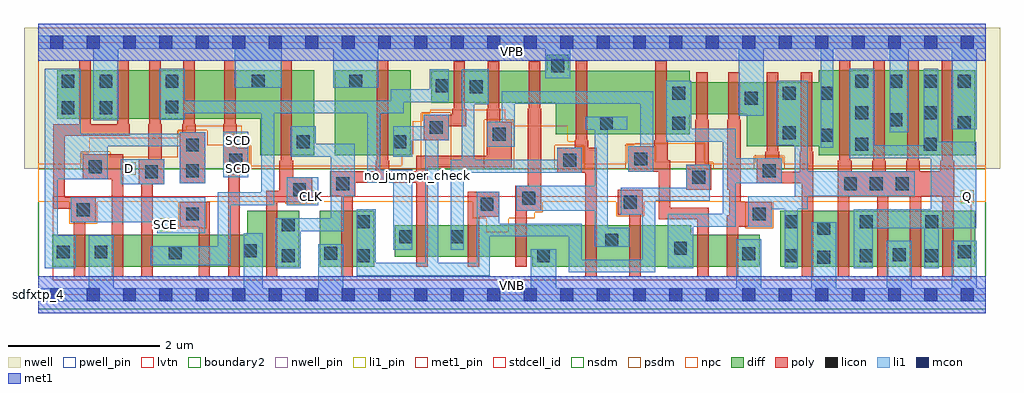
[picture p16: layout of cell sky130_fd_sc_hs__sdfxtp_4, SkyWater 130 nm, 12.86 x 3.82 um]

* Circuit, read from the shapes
.subckt sky130_fd_sc_hs__sdfxtp_4 CLK D Q SCD SCE VGND VNB VPB VPWR
XM1 VGND SCE n1 VNB sky130_fd_pr__nfet_01v8_lvt w=0.42 l=0.15
XM2 n2 n1 VGND VNB sky130_fd_pr__nfet_01v8_lvt w=0.42 l=0.15
XM3 n3 D n2 VNB sky130_fd_pr__nfet_01v8_lvt w=0.42 l=0.15
XM4 n4 SCE n3 VNB sky130_fd_pr__nfet_01v8_lvt w=0.42 l=0.15
XM5 VGND SCD n4 VNB sky130_fd_pr__nfet_01v8_lvt w=0.42 l=0.15
XM6 n5 CLK VGND VNB sky130_fd_pr__nfet_01v8_lvt w=0.74 l=0.15
XM7 n6 n5 VGND VNB sky130_fd_pr__nfet_01v8_lvt w=0.74 l=0.15
XM8 n7 n5 n3 VNB sky130_fd_pr__nfet_01v8_lvt w=0.42 l=0.15
XM9 n8 n6 n7 VNB sky130_fd_pr__nfet_01v8_lvt w=0.42 l=0.15
XM10 VGND n9 n8 VNB sky130_fd_pr__nfet_01v8_lvt w=0.42 l=0.15
XM11 n9 n7 VGND VNB sky130_fd_pr__nfet_01v8_lvt w=0.55 l=0.15
XM12 n10 n6 n9 VNB sky130_fd_pr__nfet_01v8_lvt w=0.55 l=0.15
XM13 n11 n5 n10 VNB sky130_fd_pr__nfet_01v8_lvt w=0.42 l=0.15
XM14 VGND n12 n11 VNB sky130_fd_pr__nfet_01v8_lvt w=0.42 l=0.15
XM15 VGND n10 n12 VNB sky130_fd_pr__nfet_01v8_lvt w=0.74 l=0.15
XM16 Q n12 VGND VNB sky130_fd_pr__nfet_01v8_lvt w=0.74 l=0.15 m=4
XM17 VPWR SCE n1 VPB sky130_fd_pr__pfet_01v8 w=0.64 l=0.15
XM18 n13 SCE VPWR VPB sky130_fd_pr__pfet_01v8 w=0.64 l=0.15
XM19 n3 D n13 VPB sky130_fd_pr__pfet_01v8 w=0.64 l=0.15
XM20 n14 n1 n3 VPB sky130_fd_pr__pfet_01v8 w=0.64 l=0.15
XM21 VPWR SCD n14 VPB sky130_fd_pr__pfet_01v8 w=0.64 l=0.15
XM22 n5 CLK VPWR VPB sky130_fd_pr__pfet_01v8 w=1.12 l=0.15
XM23 n6 n5 VPWR VPB sky130_fd_pr__pfet_01v8 w=1.12 l=0.15
XM24 n7 n6 n3 VPB sky130_fd_pr__pfet_01v8 w=0.42 l=0.15
XM25 n15 n5 n7 VPB sky130_fd_pr__pfet_01v8 w=0.42 l=0.15
XM26 VPWR n9 n15 VPB sky130_fd_pr__pfet_01v8 w=0.42 l=0.15
XM27 n9 n7 VPWR VPB sky130_fd_pr__pfet_01v8 w=0.84 l=0.15
XM28 n10 n5 n9 VPB sky130_fd_pr__pfet_01v8 w=0.84 l=0.15
XM29 n16 n6 n10 VPB sky130_fd_pr__pfet_01v8 w=0.42 l=0.15
XM30 VPWR n12 n16 VPB sky130_fd_pr__pfet_01v8 w=0.42 l=0.15
XM31 n12 n10 VPWR VPB sky130_fd_pr__pfet_01v8 w=0.84 l=0.15 m=2
XM32 Q n12 VPWR VPB sky130_fd_pr__pfet_01v8 w=1.12 l=0.15 m=4
.ends

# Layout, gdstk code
import gdstk
lib = gdstk.Library(unit=1e-6, precision=1e-09)
def R(c, l, rs):  # rectangles x0, y0, x1, y1
    for r in rs: c.add(gdstk.rectangle(r[:2], r[2:], *l))
def A(c, l, x, y, w, h, nx, ny, dx, dy):  # array of equal rectangles
    R(c, l, [(x+i*dx, y+j*dy, x+i*dx+w, y+j*dy+h) for i in range(nx) for j in range(ny)])
def P(c, l, *ps):  # polygons
    for p in ps: c.add(gdstk.Polygon(p, *l))
nwell_pin = (64, 16)
nwell = (64, 20)
diff = (65, 20)
poly = (66, 20)
licon = (66, 44)
li1_pin = (67, 16)
li1 = (67, 20)
mcon = (67, 44)
met1_pin = (68, 16)
met1 = (68, 20)
stdcell_id = (81, 4)
nsdm = (93, 44)
psdm = (94, 20)
npc = (95, 20)
pwell_pin = (122, 16)
lvtn = (125, 44)
boundary2 = (236, 0)

sky130_fd_sc_hs__sdfxtp_ = lib.new_cell('sky130_fd_sc_hs__sdfxtp_4')
R(sky130_fd_sc_hs__sdfxtp_, nwell_pin, [(0,3.085,12.48,3.33)])
R(sky130_fd_sc_hs__sdfxtp_, nwell, [(-0.19,1.66,12.67,3.52)])
R(sky130_fd_sc_hs__sdfxtp_, diff, [(3.705,0.37,4.425,1.11), (9.775,0.37,12.345,1.11), (3.905,1.84,4.905,2.96)])
P(sky130_fd_sc_hs__sdfxtp_, diff, [(3.435,1.11),(2.75,1.11),(2.75,0.79),(0.18,0.79),(0.18,0.37),(3.435,0.37)],
  [(3.635,2.96),(0.245,2.96),(0.245,2.32),(2.925,2.32),(2.925,1.84),(3.635,1.84)],
  [(9.505,0.79),(8.605,0.79),(8.605,0.92),(4.695,0.92),(4.695,0.5),(6.51,0.5),(6.51,0.37),(9.505,0.37)],
  [(12.345,2.96),(10.285,2.96),(10.285,2.8),(8.58,2.8),(8.58,2.955),(6.99,2.955),(6.99,3.165),(6.7,3.165),(6.7,2.95),(5.175,2.95),(5.175,2.53),(6.815,2.53),(6.815,2.115),(8.58,2.115),(8.58,2.38),(9.33,2.38),(9.33,1.96),(10.285,1.96),(10.285,1.84),(12.345,1.84)])
P(sky130_fd_sc_hs__sdfxtp_, poly, [(12.065,1.765),(12.05,1.765),(12.05,3.09),(11.9,3.09),(11.9,1.765),(11.885,1.765),(11.885,1.63),(11.615,1.63),(11.615,1.765),(11.6,1.765),(11.6,3.09),(11.45,3.09),(11.45,1.765),(11.435,1.765),(11.435,1.63),(11.165,1.63),(11.165,1.765),(11.15,1.765),(11.15,3.09),(11,3.09),(11,1.765),(10.985,1.765),(10.985,1.63),(10.715,1.63),(10.715,1.765),(10.7,1.765),(10.7,3.09),(10.55,3.09),(10.55,1.765),(10.535,1.765),(10.535,0.24),(10.685,0.24),(10.685,1.3),(11.05,1.3),(11.05,0.24),(11.2,0.24),(11.2,1.3),(11.48,1.3),(11.48,0.24),(11.63,0.24),(11.63,1.3),(11.91,1.3),(11.91,0.24),(12.06,0.24),(12.06,1.3),(12.065,1.3)],
  [(10.21,1.885),(10.195,1.885),(10.195,2.93),(10.045,2.93),(10.045,1.885),(10.03,1.885),(10.03,1.62),(9.795,1.62),(9.795,1.8),(9.76,1.8),(9.76,1.885),(9.745,1.885),(9.745,2.93),(9.595,2.93),(9.595,1.885),(9.58,1.885),(9.58,1.8),(9.465,1.8),(9.465,1.47),(10.06,1.47),(10.06,0.24),(10.21,0.24)],
  [(9.665,1.23),(9.255,1.23),(9.255,2.305),(9.24,2.305),(9.24,2.93),(9.09,2.93),(9.09,2.305),(9.075,2.305),(9.075,1.385),(9.105,1.385),(9.105,1.05),(9.07,1.05),(9.07,0.24),(9.22,0.24),(9.22,0.9),(9.665,0.9)],
  [(8.865,1.715),(8.835,1.715),(8.835,2.305),(8.82,2.305),(8.82,2.93),(8.67,2.93),(8.67,2.305),(8.655,2.305),(8.655,1.715),(8.535,1.715),(8.535,1.385),(8.865,1.385)],
  [(8.83,1.145),(8.325,1.145),(8.325,1.775),(8.295,1.775),(8.295,2.04),(8.28,2.04),(8.28,3.085),(8.13,3.085),(8.13,2.04),(8.115,2.04),(8.115,1.955),(7.77,1.955),(7.77,1.625),(8.175,1.625),(8.175,0.995),(8.68,0.995),(8.68,0.24),(8.83,0.24)],
  [(7.965,1.385),(7.635,1.385),(7.635,1.055),(7.785,1.055),(7.785,0.24),(7.935,0.24),(7.935,1.055),(7.965,1.055)],
  [(7.355,1.94),(7.245,1.94),(7.245,2.04),(7.23,2.04),(7.23,3.085),(7.08,3.085),(7.08,2.04),(7.065,2.04),(7.065,1.94),(6.835,1.94),(6.835,1.61),(7.205,1.61),(7.205,0.24),(7.355,0.24)],
  [(6.625,2.455),(6.61,2.455),(6.61,3.08),(6.46,3.08),(6.46,2.455),(6.445,2.455),(6.445,1.44),(6.285,1.44),(6.285,0.37),(6.435,0.37),(6.435,1.11),(6.625,1.11)],
  [(6.235,2.28),(6.085,2.28),(6.085,2.455),(6.07,2.455),(6.07,3.08),(5.92,3.08),(5.92,2.455),(5.905,2.455),(5.905,1.83),(4.98,1.83),(4.98,1.63),(4.625,1.63),(4.625,1.765),(4.61,1.765),(4.61,3.09),(4.46,3.09),(4.46,1.765),(4.445,1.765),(4.445,1.63),(3.845,1.63),(3.845,1.3),(3.99,1.3),(3.99,0.24),(4.14,0.24),(4.14,1.3),(4.175,1.3),(4.175,1.48),(4.98,1.48),(4.98,0.37),(5.13,0.37),(5.13,1.68),(6.235,1.68)],
  [(6.075,1.36),(5.66,1.36),(5.66,0.37),(5.81,0.37),(5.81,1.03),(6.075,1.03)],
  [(5.635,2.455),(5.62,2.455),(5.62,3.08),(5.47,3.08),(5.47,2.455),(5.455,2.455),(5.455,2.37),(5.075,2.37),(5.075,2.04),(5.405,2.04),(5.405,2.22),(5.635,2.22)],
  [(3.605,1.55),(3.355,1.55),(3.355,1.765),(3.34,1.765),(3.34,3.09),(3.19,3.09),(3.19,1.765),(3.175,1.765),(3.175,1.37),(3,1.37),(3,0.24),(3.15,0.24),(3.15,1.22),(3.605,1.22)],
  [(2.765,1.94),(2.615,1.94),(2.615,2.245),(2.6,2.245),(2.6,3.09),(2.45,3.09),(2.45,2.245),(2.435,2.245),(2.435,1.61),(2.5,1.61),(2.5,0.24),(2.65,0.24),(2.65,1.61),(2.765,1.61)],
  [(2.26,1.23),(1.865,1.23),(1.865,0.9),(2.11,0.9),(2.11,0.24),(2.26,0.24)],
  [(2.195,2.14),(2.075,2.14),(2.075,2.245),(2.06,2.245),(2.06,3.09),(1.91,3.09),(1.91,2.245),(1.895,2.245),(1.895,2.14),(1.865,2.14),(1.865,1.47),(2.195,1.47)],
  [(1.655,1.785),(1.625,1.785),(1.625,2.245),(1.61,2.245),(1.61,3.09),(1.46,3.09),(1.46,2.245),(1.445,2.245),(1.445,1.785),(1.325,1.785),(1.325,1.455),(1.355,1.455),(1.355,0.24),(1.505,0.24),(1.505,1.455),(1.655,1.455)],
  [(1.205,2.245),(1.19,2.245),(1.19,3.09),(1.04,3.09),(1.04,2.245),(0.69,2.245),(0.69,3.09),(0.54,3.09),(0.54,2.245),(0.195,2.245),(0.195,1.135),(0.425,1.135),(0.425,0.955),(0.465,0.955),(0.465,0.24),(0.615,0.24),(0.615,0.955),(0.755,0.955),(0.755,1.285),(0.345,1.285),(0.345,2.095),(1.205,2.095)],
  [(1.115,1.855),(0.585,1.855),(0.585,1.525),(0.965,1.525),(0.965,0.24),(1.115,0.24)])
A(sky130_fd_sc_hs__sdfxtp_, licon, 10.615, 1.38, 0.17, 0.17, 3, 1, 0.34, 0)
A(sky130_fd_sc_hs__sdfxtp_, licon, 10.765, 2.73, 0.17, 0.17, 4, 1, 0.45, 0)
R(sky130_fd_sc_hs__sdfxtp_, licon, [(10.265,0.41,10.435,0.58), (3.205,0.43,3.375,0.6), (4.195,0.43,4.365,0.6), (6.57,0.43,6.74,0.6), (9.835,0.43,10.005,0.6), (10.825,0.43,10.995,0.6), (11.685,0.43,11.855,0.6), (11.255,0.445,11.425,0.615), (9.275,0.455,9.445,0.625), (3.765,0.465,3.935,0.635), (1.72,0.47,1.89,0.64), (0.24,0.48,0.41,0.65), (0.74,0.48,0.91,0.65), (12.115,0.485,12.285,0.655), (2.705,0.495,2.875,0.665), (8.375,0.53,8.545,0.7), (7.47,0.635,7.64,0.805), (4.755,0.68,4.925,0.85), (5.435,0.68,5.605,0.85), (10.265,0.79,10.435,0.96), (3.205,0.84,3.375,1.01), (4.195,0.88,4.365,1.05), (9.835,0.88,10.005,1.05), (10.825,0.88,10.995,1.05), (11.685,0.88,11.855,1.05), (1.945,0.98,2.115,1.15), (9.415,0.98,9.585,1.15), (0.505,1.035,0.675,1.205), (5.825,1.11,5.995,1.28), (7.715,1.135,7.885,1.305), (6.375,1.19,6.545,1.36), (3.355,1.3,3.525,1.47), (3.925,1.38,4.095,1.55), (8.615,1.465,8.785,1.635), (1.405,1.535,1.575,1.705), (1.945,1.55,2.115,1.72), (9.545,1.55,9.715,1.72), (0.665,1.605,0.835,1.775), (2.515,1.69,2.685,1.86), (6.915,1.69,7.085,1.86), (7.85,1.705,8.02,1.875), (1.945,1.89,2.115,2.06), (10.765,1.9,10.935,2.07), (11.665,1.9,11.835,2.07), (3.405,1.935,3.575,2.105), (4.675,1.935,4.845,2.105), (10.305,2.02,10.475,2.19), (5.985,2.03,6.155,2.2), (9.81,2.05,9.98,2.22), (5.155,2.12,5.325,2.29), (7.4,2.175,7.57,2.345), (8.35,2.175,8.52,2.345), (12.115,2.185,12.285,2.355), (11.215,2.22,11.385,2.39), (10.765,2.315,10.935,2.485), (11.665,2.315,11.835,2.485), (0.305,2.38,0.475,2.55), (0.805,2.38,0.975,2.55), (1.675,2.39,1.845,2.56), (9.305,2.505,9.475,2.675), (8.35,2.57,8.52,2.74), (9.81,2.57,9.98,2.74), (10.305,2.57,10.475,2.74), (5.685,2.655,5.855,2.825), (5.235,2.67,5.405,2.84), (0.305,2.73,0.475,2.9), (0.805,2.73,0.975,2.9), (1.675,2.73,1.845,2.9), (2.81,2.73,2.98,2.9), (4.095,2.73,4.265,2.9), (6.76,2.935,6.93,3.105)])
R(sky130_fd_sc_hs__sdfxtp_, li1_pin, [(1.595,0.84,1.765,1.01), (3.515,1.21,3.685,1.38), (12.155,1.21,12.325,1.38), (1.115,1.58,1.285,1.75), (2.555,1.58,2.725,1.75), (2.555,1.95,2.725,2.12)])
R(sky130_fd_sc_hs__sdfxtp_, li1, [(3.275,1.18,3.685,1.55), (1.085,1.455,1.655,1.785), (2.435,1.55,2.765,2.15)])
P(sky130_fd_sc_hs__sdfxtp_, li1, [(0,3.245),(0,3.415),(12.48,3.415),(12.48,3.245),(12.365,3.245),(12.365,2.185),(12.035,2.185),(12.035,3.245),(11.465,3.245),(11.465,2.14),(11.215,2.14),(11.215,3.245),(10.475,3.245),(10.475,1.94),(10.305,1.94),(10.305,3.245),(9.555,3.245),(9.555,2.36),(9.225,2.36),(9.225,3.245),(7.01,3.245),(7.01,2.855),(6.68,2.855),(6.68,3.245),(4.475,3.245),(4.475,2.73),(3.885,2.73),(3.885,3.245),(3.205,3.245),(3.205,2.73),(2.585,2.73),(2.585,3.245),(1.055,3.245),(1.055,2.3),(0.725,2.3),(0.725,3.245)],
  [(0.66,0.085),(0.66,0.785),(0.99,0.785),(0.99,0.085),(2.705,0.085),(2.705,0.81),(2.955,0.81),(2.955,0.085),(3.685,0.085),(3.685,0.67),(4.015,0.67),(4.015,0.085),(6.49,0.085),(6.49,0.6),(6.82,0.6),(6.82,0.085),(9.195,0.085),(9.195,0.73),(9.525,0.73),(9.525,0.085),(10.185,0.085),(10.185,0.96),(10.515,0.96),(10.515,0.085),(11.175,0.085),(11.175,0.71),(11.505,0.71),(11.505,0.085),(12.035,0.085),(12.035,0.71),(12.365,0.71),(12.365,0.085),(12.48,0.085),(12.48,-0.085),(0,-0.085),(0,0.085)],
  [(0.425,0.955),(0.425,1.285),(2.195,1.285),(2.195,0.81),(1.565,0.81),(1.565,0.955)],
  [(5.775,0.425),(5.775,1.36),(6.075,1.36),(6.075,0.94),(7.16,0.94),(7.16,0.465),(7.955,0.465),(7.955,1.055),(7.67,1.055),(7.67,1.41),(8.535,1.41),(8.535,1.715),(8.845,1.715),(8.845,1.24),(8.125,1.24),(8.125,0.295),(6.99,0.295),(6.99,0.77),(5.945,0.77),(5.945,0.255),(4.195,0.255),(4.195,1.13),(4.445,1.13),(4.445,0.425),(5.095,0.425),(5.095,2.04),(4.925,2.04),(4.925,1.82),(4.675,1.82),(4.675,2.22),(5.075,2.22),(5.075,2.37),(5.405,2.37),(5.405,2.04),(5.265,2.04),(5.265,0.425)],
  [(4.025,0.84),(3.455,0.84),(3.455,0.35),(3.125,0.35),(3.125,1.01),(3.855,1.01),(3.855,1.82),(3.325,1.82),(3.325,2.22),(3.655,2.22),(3.655,1.99),(4.165,1.99),(4.165,1.3),(4.025,1.3)],
  [(0.085,2.98),(0.555,2.98),(0.555,2.125),(1.865,2.125),(1.865,2.14),(2.195,2.14),(2.195,1.47),(1.865,1.47),(1.865,1.955),(0.915,1.955),(0.915,1.525),(0.255,1.525),(0.255,0.785),(0.49,0.785),(0.49,0.35),(0.085,0.35)],
  [(9.185,1.8),(9.795,1.8),(9.795,1.47),(9.185,1.47),(9.185,0.9),(8.625,0.9),(8.625,0.35),(8.295,0.35),(8.295,1.07),(9.015,1.07),(9.015,2.02),(8.27,2.02),(8.27,2.82),(8.6,2.82),(8.6,2.19),(9.185,2.19)],
  [(2.365,0.64),(2.365,1.35),(2.935,1.35),(2.935,2.39),(1.925,2.39),(1.925,2.31),(1.595,2.31),(1.595,2.98),(1.925,2.98),(1.925,2.56),(4.645,2.56),(4.645,2.71),(5.155,2.71),(5.155,2.97),(5.405,2.97),(5.405,2.54),(4.815,2.54),(4.815,2.39),(4.505,2.39),(4.505,1.65),(4.925,1.65),(4.925,0.595),(4.675,0.595),(4.675,1.48),(4.335,1.48),(4.335,2.39),(3.105,2.39),(3.105,1.18),(2.535,1.18),(2.535,0.39),(1.48,0.39),(1.48,0.64)],
  [(5.575,1.78),(5.575,2.97),(5.935,2.97),(5.935,2.51),(5.745,2.51),(5.745,1.78),(6.835,1.78),(6.835,1.94),(7.16,1.94),(7.16,1.61),(5.605,1.61),(5.605,0.595),(5.435,0.595),(5.435,1.78)],
  [(7.33,1.44),(7.33,2.175),(7.215,2.175),(7.215,2.345),(7.76,2.345),(7.76,2.175),(7.5,2.175),(7.5,0.885),(7.785,0.885),(7.785,0.635),(7.33,0.635),(7.33,1.11),(6.295,1.11),(6.295,1.44)],
  [(7.93,1.955),(7.93,2.515),(6.275,2.515),(6.275,1.95),(5.915,1.95),(5.915,2.28),(6.105,2.28),(6.105,2.685),(8.1,2.685),(8.1,1.625),(7.77,1.625),(7.77,1.955)],
  [(9.965,1.3),(9.965,1.97),(9.73,1.97),(9.73,2.82),(10.135,2.82),(10.135,1.63),(11.545,1.63),(11.545,1.3),(10.135,1.3),(10.135,1.13),(10.005,1.13),(10.005,0.35),(9.835,0.35),(9.835,1.13),(9.665,1.13),(9.665,0.9),(9.355,0.9),(9.355,1.3)],
  [(12.355,2.015),(11.855,2.015),(11.855,2.98),(11.665,2.98),(11.665,1.97),(11.015,1.97),(11.015,2.98),(10.685,2.98),(10.685,1.8),(11.76,1.8),(11.76,1.13),(10.745,1.13),(10.745,0.35),(10.995,0.35),(10.995,0.88),(11.675,0.88),(11.675,0.35),(11.865,0.35),(11.865,0.88),(12.355,0.88)])
A(sky130_fd_sc_hs__sdfxtp_, mcon, 0.155, -0.085, 0.17, 0.17, 26, 2, 0.48, 3.33)
R(sky130_fd_sc_hs__sdfxtp_, met1_pin, [(0,0,12.48,0.245), (0,3.085,12.48,3.33)])
R(sky130_fd_sc_hs__sdfxtp_, met1, [(0,-0.245,12.48,0.245), (0,3.085,12.48,3.575)])
R(sky130_fd_sc_hs__sdfxtp_, stdcell_id, [(0,0,12.48,3.33)])
R(sky130_fd_sc_hs__sdfxtp_, nsdm, [(0,-0.19,12.48,1.66)])
P(sky130_fd_sc_hs__sdfxtp_, psdm, [(12.48,3.52),(0,3.52),(0,1.66),(0.555,1.66),(0.555,1.885),(0.945,1.885),(0.945,1.815),(1.835,1.815),(1.835,2.17),(2.225,2.17),(2.225,1.97),(2.795,1.97),(2.795,1.66),(5.045,1.66),(5.045,2.4),(5.435,2.4),(5.435,1.66),(5.875,1.66),(5.875,2.31),(6.265,2.31),(6.265,1.66),(6.805,1.66),(6.805,1.97),(7.195,1.97),(7.195,1.66),(7.74,1.66),(7.74,1.985),(8.13,1.985),(8.13,1.745),(8.895,1.745),(8.895,1.66),(9.435,1.66),(9.435,1.83),(9.825,1.83),(9.825,1.66),(12.48,1.66)])
P(sky130_fd_sc_hs__sdfxtp_, npc, [(12.48,1.7),(10.145,1.7),(10.145,1.73),(9.815,1.73),(9.815,1.82),(9.445,1.82),(9.445,1.73),(8.885,1.73),(8.885,1.735),(8.78,1.735),(8.78,2),(7.855,2),(7.855,1.975),(7.75,1.975),(7.75,1.73),(7.185,1.73),(7.185,1.96),(7.08,1.96),(7.08,2.025),(6.975,2.025),(6.975,2.225),(6.255,2.225),(6.255,2.3),(6.15,2.3),(6.15,2.44),(5.16,2.44),(5.16,2.39),(5.055,2.39),(5.055,2.285),(4.935,2.285),(4.935,1.845),(4.79,1.845),(4.79,1.7),(2.785,1.7),(2.785,1.96),(2.68,1.96),(2.68,2.225),(1.95,2.225),(1.95,2.16),(1.845,2.16),(1.845,2.07),(0.67,2.07),(0.67,1.875),(0.565,1.875),(0.565,1.73),(0,1.73),(0,1.23),(0.405,1.23),(0.405,0.935),(0.775,0.935),(0.775,1.23),(1.845,1.23),(1.845,0.88),(2.215,0.88),(2.215,1.23),(3.255,1.23),(3.255,1.2),(3.625,1.2),(3.625,1.23),(5.725,1.23),(5.725,1.01),(5.9,1.01),(5.9,0.825),(6.195,0.825),(6.195,1.01),(6.54,1.01),(6.54,1.09),(6.645,1.09),(6.645,1.23),(7.615,1.23),(7.615,1.035),(7.985,1.035),(7.985,1.23),(9.315,1.23),(9.315,0.88),(9.685,0.88),(9.685,1.23),(12.48,1.23)])
R(sky130_fd_sc_hs__sdfxtp_, pwell_pin, [(0,0,12.48,0.245)])
R(sky130_fd_sc_hs__sdfxtp_, lvtn, [(0.19,0.19,12.29,1.3)])
R(sky130_fd_sc_hs__sdfxtp_, boundary2, [(0,0,12.48,3.33)])
sky130_fd_sc_hs__sdfxtp_.add(gdstk.Label('sdfxtp_4', (0,0), layer=83, texttype=44))
sky130_fd_sc_hs__sdfxtp_.add(gdstk.Label('no_jumper_check', (5,1.57), layer=83, texttype=44))
sky130_fd_sc_hs__sdfxtp_.add(gdstk.Label('VNB', (6.24,0.123), layer=64, texttype=59))
sky130_fd_sc_hs__sdfxtp_.add(gdstk.Label('VPB', (6.24,3.208), layer=64, texttype=5))
sky130_fd_sc_hs__sdfxtp_.add(gdstk.Label('VPWR', (6.24,3.208), layer=68, texttype=5))
sky130_fd_sc_hs__sdfxtp_.add(gdstk.Label('VGND', (6.24,0.123), layer=68, texttype=5))
sky130_fd_sc_hs__sdfxtp_.add(gdstk.Label('SCE', (1.68,0.925), layer=67, texttype=5))
sky130_fd_sc_hs__sdfxtp_.add(gdstk.Label('CLK', (3.6,1.295), layer=67, texttype=5))
sky130_fd_sc_hs__sdfxtp_.add(gdstk.Label('D', (1.2,1.665), layer=67, texttype=5))
sky130_fd_sc_hs__sdfxtp_.add(gdstk.Label('SCD', (2.64,1.665), layer=67, texttype=5))
sky130_fd_sc_hs__sdfxtp_.add(gdstk.Label('SCD', (2.64,2.035), layer=67, texttype=5))
sky130_fd_sc_hs__sdfxtp_.add(gdstk.Label('Q', (12.24,1.295), layer=67, texttype=5))

lib.write_gds('sky130_fd_sc_hs__sdfxtp_4.gds')
